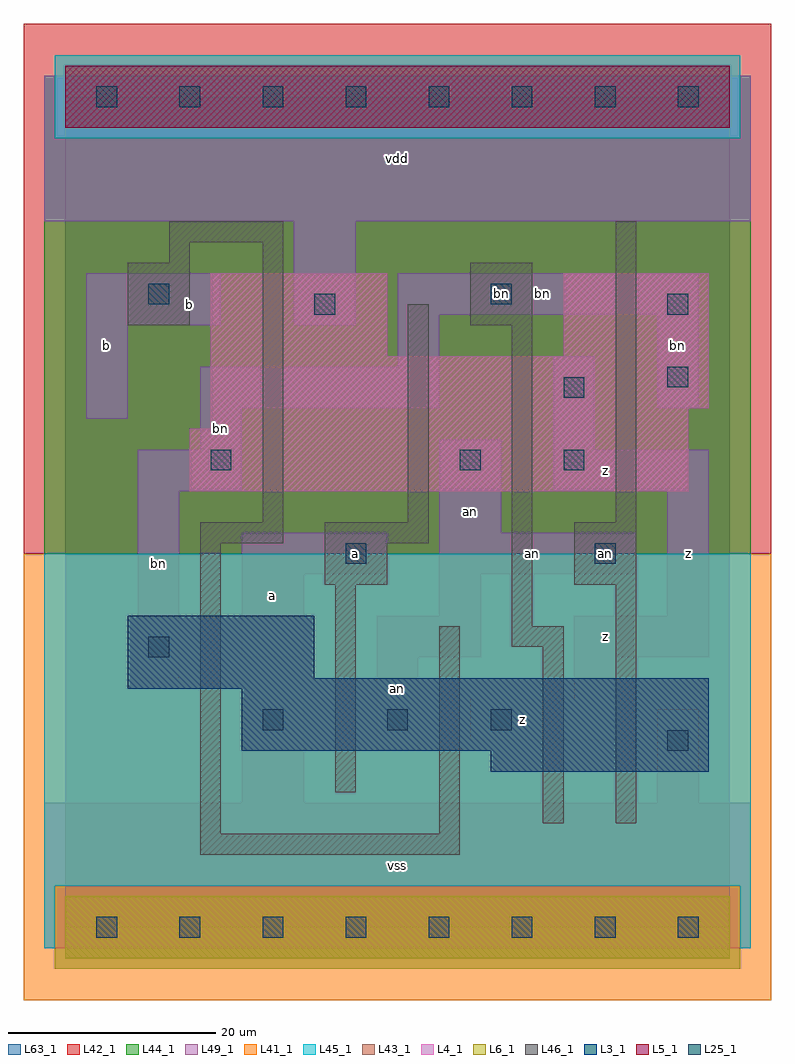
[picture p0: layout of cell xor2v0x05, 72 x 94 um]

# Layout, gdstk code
import gdstk
lib = gdstk.Library(unit=1e-6, precision=1e-09)
def R(c, l, rs):  # rectangles x0, y0, x1, y1
    for r in rs: c.add(gdstk.rectangle(r[:2], r[2:], *l))
def A(c, l, x, y, w, h, nx, ny, dx, dy):  # array of equal rectangles
    R(c, l, [(x+i*dx, y+j*dy, x+i*dx+w, y+j*dy+h) for i in range(nx) for j in range(ny)])
L3_1 = (3, 1)
L4_1 = (4, 1)
L5_1 = (5, 1)
L6_1 = (6, 1)
L25_1 = (25, 1)
L41_1 = (41, 1)
L42_1 = (42, 1)
L43_1 = (43, 1)
L44_1 = (44, 1)
L45_1 = (45, 1)
L46_1 = (46, 1)
L49_1 = (49, 1)
L63_1 = (63, 1)

xor2v0x05 = lib.new_cell('xor2v0x05')
R(xor2v0x05, L3_1, [(41,15,62,17), (17,17,62,23), (6,23,62,24), (6,24,24,30)])
R(xor2v0x05, L4_1, [(12,42,60,48), (14,48,60,50), (14,50,62,55), (14,55,31,63), (48,55,62,63)])
R(xor2v0x05, L5_1, [(0,77,64,83)])
R(xor2v0x05, L6_1, [(0,-3,64,3), (0,-3,64,3)])
A(xor2v0x05, L25_1, 3, -1, 2, 2, 8, 2, 8, 80)
R(xor2v0x05, L25_1, [(58,17,60,19), (19,19,21,21), (31,19,33,21), (41,19,43,21), (8,26,10,28), (27,35,29,37), (51,35,53,37), (14,44,16,46), (38,44,40,46), (48,44,50,46), (48,51,50,53), (58,52,60,54), (24,59,26,61), (58,59,60,61), (8,60,10,62), (41,60,43,62)])
R(xor2v0x05, L41_1, [(-4,-7,68,36)])
R(xor2v0x05, L42_1, [(-4,36,68,87)])
R(xor2v0x05, L43_1, [(0,-3,64,3), (41,15,62,17), (17,17,62,23), (6,23,62,24), (6,24,24,30), (12,42,60,48), (14,48,60,50), (14,50,62,55), (14,55,31,63), (48,55,62,63), (0,77,64,83)])
R(xor2v0x05, L44_1, [(-1,-4,65,4), (-2,36,66,76), (-2,76,-1,82), (65,76,66,82)])
R(xor2v0x05, L45_1, [(-2,-2,-1,4), (65,-2,66,4), (-2,4,66,36), (-1,76,65,84)])
R(xor2v0x05, L46_1, [(13,7,38,9), (13,9,15,37), (36,9,38,29), (46,10,48,27), (53,10,55,33), (26,13,28,33), (43,27,48,29), (43,29,45,58), (25,33,31,37), (49,33,55,39), (13,37,21,39), (25,37,35,39), (19,39,21,66), (33,39,35,60), (53,39,55,68), (6,58,12,64), (39,58,45,64), (10,64,12,66), (10,66,21,68)])
R(xor2v0x05, L49_1, [(-2,-2,66,12), (17,12,23,22), (57,12,61,21), (30,17,34,26), (39,18,53,22), (49,22,53,26), (7,24,11,42), (17,26,23,34), (30,26,40,30), (49,26,62,30), (36,30,40,34), (58,30,62,42), (17,34,31,38), (36,34,55,38), (36,38,42,47), (7,42,17,46), (47,42,62,46), (13,46,17,50), (47,46,51,55), (2,49,6,58), (13,50,36,54), (57,50,61,59), (32,54,36,59), (2,58,15,63), (22,58,28,68), (32,59,61,63), (-2,68,66,82)])
R(xor2v0x05, L63_1, [(0,0,64,80)])
xor2v0x05.add(gdstk.Label('an', (52,36), layer=49, texttype=1))
xor2v0x05.add(gdstk.Label('bn', (42,61), layer=49, texttype=1))
xor2v0x05.add(gdstk.Label('b', (4,56), layer=49, texttype=1))
xor2v0x05.add(gdstk.Label('a', (20,32), layer=49, texttype=1))
xor2v0x05.add(gdstk.Label('bn', (9,35), layer=49, texttype=1))
xor2v0x05.add(gdstk.Label('bn', (15,48), layer=49, texttype=1))
xor2v0x05.add(gdstk.Label('b', (12,60), layer=49, texttype=1))
xor2v0x05.add(gdstk.Label('vss', (32,6), layer=49, texttype=1))
xor2v0x05.add(gdstk.Label('an', (32,23), layer=49, texttype=1))
xor2v0x05.add(gdstk.Label('a', (28,36), layer=49, texttype=1))
xor2v0x05.add(gdstk.Label('vdd', (32,74), layer=49, texttype=1))
xor2v0x05.add(gdstk.Label('z', (44,20), layer=49, texttype=1))
xor2v0x05.add(gdstk.Label('an', (39,40), layer=49, texttype=1))
xor2v0x05.add(gdstk.Label('z', (52,28), layer=49, texttype=1))
xor2v0x05.add(gdstk.Label('z', (52,44), layer=49, texttype=1))
xor2v0x05.add(gdstk.Label('an', (45,36), layer=49, texttype=1))
xor2v0x05.add(gdstk.Label('z', (60,36), layer=49, texttype=1))
xor2v0x05.add(gdstk.Label('bn', (59,56), layer=49, texttype=1))
xor2v0x05.add(gdstk.Label('bn', (46,61), layer=49, texttype=1))

lib.write_gds('xor2v0x05.gds')
